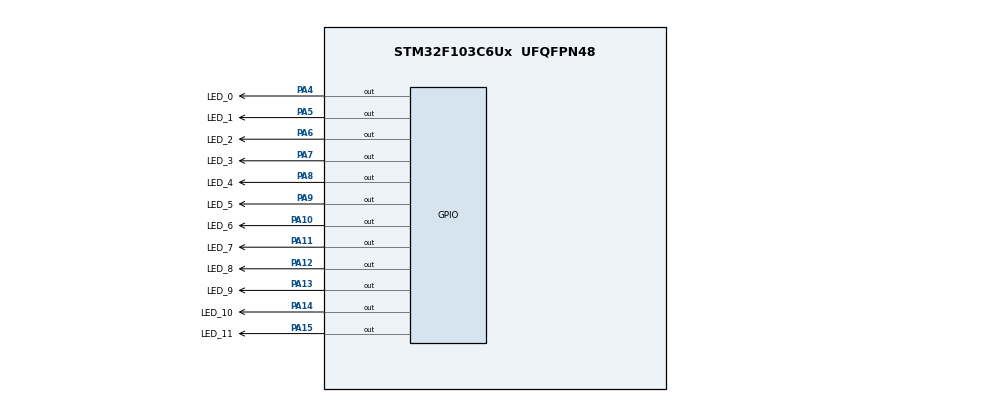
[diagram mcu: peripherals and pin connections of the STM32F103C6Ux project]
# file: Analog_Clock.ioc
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Mcu.Family=STM32F1
Mcu.Name=STM32F103C6Ux
Mcu.Package=UFQFPN48
NVIC.PriorityGroup=NVIC_PRIORITYGROUP_4
PA10.GPIO_Label=LED_6
PA10.Signal=GPIO_Output
PA11.GPIO_Label=LED_7
PA11.Signal=GPIO_Output
PA12.GPIO_Label=LED_8
PA12.Signal=GPIO_Output
PA13.GPIO_Label=LED_9
PA13.Signal=GPIO_Output
PA14.GPIO_Label=LED_10
PA14.Signal=GPIO_Output
PA15.GPIO_Label=LED_11
PA15.Signal=GPIO_Output
PA4.GPIO_Label=LED_0
PA4.Signal=GPIO_Output
PA5.GPIO_Label=LED_1
PA5.Signal=GPIO_Output
PA6.GPIO_Label=LED_2
PA6.Signal=GPIO_Output
PA7.GPIO_Label=LED_3
PA7.Signal=GPIO_Output
PA8.GPIO_Label=LED_4
PA8.Signal=GPIO_Output
PA9.GPIO_Label=LED_5
PA9.Signal=GPIO_Output
ProjectManager.HeapSize=0x200
ProjectManager.StackSize=0x400
ProjectManager.TargetToolchain=STM32CubeIDE
RCC.APB1Freq_Value=8000000
RCC.APB2Freq_Value=8000000
board=custom

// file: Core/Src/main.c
/* USER CODE BEGIN Header */
/**
  ******************************************************************************
  * @file           : main.c
  * @brief          : Main program body
  ******************************************************************************
  * @attention
  *
  * Copyright (c) 2022 STMicroelectronics.
  * All rights reserved.
  *
  * This software is licensed under terms that can be found in the LICENSE file
  * in the root directory of this software component.
  * If no LICENSE file comes with this software, it is provided AS-IS.
  *
  ******************************************************************************
  */
/* USER CODE END Header */
#include "main.h"

/* USER CODE BEGIN PTD */
#define	DELAY_TIME				1000 // 1 second delay
#define NUM_OF_LEDS				12
#define NUM_OF_HOUR_INDICES		12
#define TIME_TO_NEXT_LED		5  // 5 seconds/minutes to switch from one led to the next one
#define LED_ON					0x00
#define LED_OFF					0x01
/* USER CODE END PTD */

/* USER CODE BEGIN PV */
static uint8_t secCounter = 0, minCounter = 0, hourCounter = 0;
static uint8_t clockBuffer[NUM_OF_LEDS] = {	LED_OFF, LED_OFF, LED_OFF, LED_OFF,
											LED_OFF, LED_OFF, LED_OFF, LED_OFF,
											LED_OFF, LED_OFF, LED_OFF, LED_OFF };
/* USER CODE END PV */

void SystemClock_Config(void);
static void MX_GPIO_Init(void);
/* USER CODE BEGIN PFP */
void displayClock(void);
void clearAllClock(void);
void setNumberOnClock(int);
void clearNumberOnClock(int);
void exercise6(void);
void completeClock(void);
/* USER CODE END PFP */

/* USER CODE BEGIN 0 */
void displayClock(void) {
	uint8_t index = 0;
	HAL_GPIO_WritePin(LED_0_GPIO_Port, LED_0_Pin, clockBuffer[index++] & 0x01);
	HAL_GPIO_WritePin(LED_1_GPIO_Port, LED_1_Pin, clockBuffer[index++] & 0x01);
	HAL_GPIO_WritePin(LED_2_GPIO_Port, LED_2_Pin, clockBuffer[index++] & 0x01);
	HAL_GPIO_WritePin(LED_3_GPIO_Port, LED_3_Pin, clockBuffer[index++] & 0x01);
	HAL_GPIO_WritePin(LED_4_GPIO_Port, LED_4_Pin, clockBuffer[index++] & 0x01);
	HAL_GPIO_WritePin(LED_5_GPIO_Port, LED_5_Pin, clockBuffer[index++] & 0x01);
	HAL_GPIO_WritePin(LED_6_GPIO_Port, LED_6_Pin, clockBuffer[index++] & 0x01);
	HAL_GPIO_WritePin(LED_7_GPIO_Port, LED_7_Pin, clockBuffer[index++] & 0x01);
	HAL_GPIO_WritePin(LED_8_GPIO_Port, LED_8_Pin, clockBuffer[index++] & 0x01);
	HAL_GPIO_WritePin(LED_9_GPIO_Port, LED_9_Pin, clockBuffer[index++] & 0x01);
	HAL_GPIO_WritePin(LED_10_GPIO_Port, LED_10_Pin, clockBuffer[index++] & 0x01);
	HAL_GPIO_WritePin(LED_11_GPIO_Port, LED_11_Pin, clockBuffer[index] & 0x01);
}

void clearAllClock(void) {
	for(uint8_t index = 0; index < NUM_OF_LEDS; index++) {
		clockBuffer[index] = LED_OFF;
	}
}

void setNumberOnClock(int num) {
	clockBuffer[num] = LED_ON;
}

void clearNumberOnClock(int num) {
	clockBuffer[num] = LED_OFF;
}

void exercise6(void) {
	if(secCounter == NUM_OF_LEDS) secCounter = 0;
	if(clockBuffer[secCounter] == LED_OFF) clockBuffer[secCounter++] = LED_ON;
	else clockBuffer[secCounter++] = LED_OFF;
	displayClock();
}

void completeClock(void) {
	if(secCounter == 60) {
		secCounter = 0;
		minCounter++;
	}
	if(minCounter == 60) {
		minCounter = 0;
		hourCounter = (hourCounter + 1) % NUM_OF_LEDS;
	}
	clearAllClock();
	setNumberOnClock(secCounter / TIME_TO_NEXT_LED);
	setNumberOnClock(minCounter / TIME_TO_NEXT_LED);
	setNumberOnClock(hourCounter);
	displayClock();
	secCounter++;
}
/* USER CODE END 0 */

int main(void)
{

  /* MCU Configuration--------------------------------------------------------*/

  /* Reset of all peripherals, Initializes the Flash interface and the Systick. */
  HAL_Init();

  /* Configure the system clock */
  SystemClock_Config();

  /* Initialize all configured peripherals */
  MX_GPIO_Init();

  /* Infinite loop */
  /* USER CODE BEGIN WHILE */
  while (1)
  {
	  completeClock();
	  HAL_Delay(DELAY_TIME);
    /* USER CODE END WHILE */

  }
}

void SystemClock_Config(void)
{
  RCC_OscInitTypeDef RCC_OscInitStruct = {0};
  RCC_ClkInitTypeDef RCC_ClkInitStruct = {0};

  /** Initializes the RCC Oscillators according to the specified parameters
  * in the RCC_OscInitTypeDef structure.
  */
  RCC_OscInitStruct.OscillatorType = RCC_OSCILLATORTYPE_HSI;
  RCC_OscInitStruct.HSIState = RCC_HSI_ON;
  RCC_OscInitStruct.HSICalibrationValue = RCC_HSICALIBRATION_DEFAULT;
  RCC_OscInitStruct.PLL.PLLState = RCC_PLL_NONE;
  if (HAL_RCC_OscConfig(&RCC_OscInitStruct) != HAL_OK)
  {
    Error_Handler();
  }

  /** Initializes the CPU, AHB and APB buses clocks
  */
  RCC_ClkInitStruct.ClockType = RCC_CLOCKTYPE_HCLK|RCC_CLOCKTYPE_SYSCLK
                              |RCC_CLOCKTYPE_PCLK1|RCC_CLOCKTYPE_PCLK2;
  RCC_ClkInitStruct.SYSCLKSource = RCC_SYSCLKSOURCE_HSI;
  RCC_ClkInitStruct.AHBCLKDivider = RCC_SYSCLK_DIV1;
  RCC_ClkInitStruct.APB1CLKDivider = RCC_HCLK_DIV1;
  RCC_ClkInitStruct.APB2CLKDivider = RCC_HCLK_DIV1;

  if (HAL_RCC_ClockConfig(&RCC_ClkInitStruct, FLASH_LATENCY_0) != HAL_OK)
  {
    Error_Handler();
  }
}

static void MX_GPIO_Init(void)
{
  GPIO_InitTypeDef GPIO_InitStruct = {0};

  /* GPIO Ports Clock Enable */
  __HAL_RCC_GPIOA_CLK_ENABLE();

  /*Configure GPIO pin Output Level */
  HAL_GPIO_WritePin(GPIOA, LED_0_Pin|LED_1_Pin|LED_2_Pin|LED_3_Pin
                          |LED_4_Pin|LED_5_Pin|LED_6_Pin|LED_7_Pin
                          |LED_8_Pin|LED_9_Pin|LED_10_Pin|LED_11_Pin, GPIO_PIN_RESET);

  /*Configure GPIO pins : LED_0_Pin LED_1_Pin LED_2_Pin LED_3_Pin
                           LED_4_Pin LED_5_Pin LED_6_Pin LED_7_Pin
                           LED_8_Pin LED_9_Pin LED_10_Pin LED_11_Pin */
  GPIO_InitStruct.Pin = LED_0_Pin|LED_1_Pin|LED_2_Pin|LED_3_Pin
                          |LED_4_Pin|LED_5_Pin|LED_6_Pin|LED_7_Pin
                          |LED_8_Pin|LED_9_Pin|LED_10_Pin|LED_11_Pin;
  GPIO_InitStruct.Mode = GPIO_MODE_OUTPUT_PP;
  GPIO_InitStruct.Pull = GPIO_NOPULL;
  GPIO_InitStruct.Speed = GPIO_SPEED_FREQ_LOW;
  HAL_GPIO_Init(GPIOA, &GPIO_InitStruct);

}

void Error_Handler(void)
{
  __disable_irq();
  while (1)
  {
  }
}
